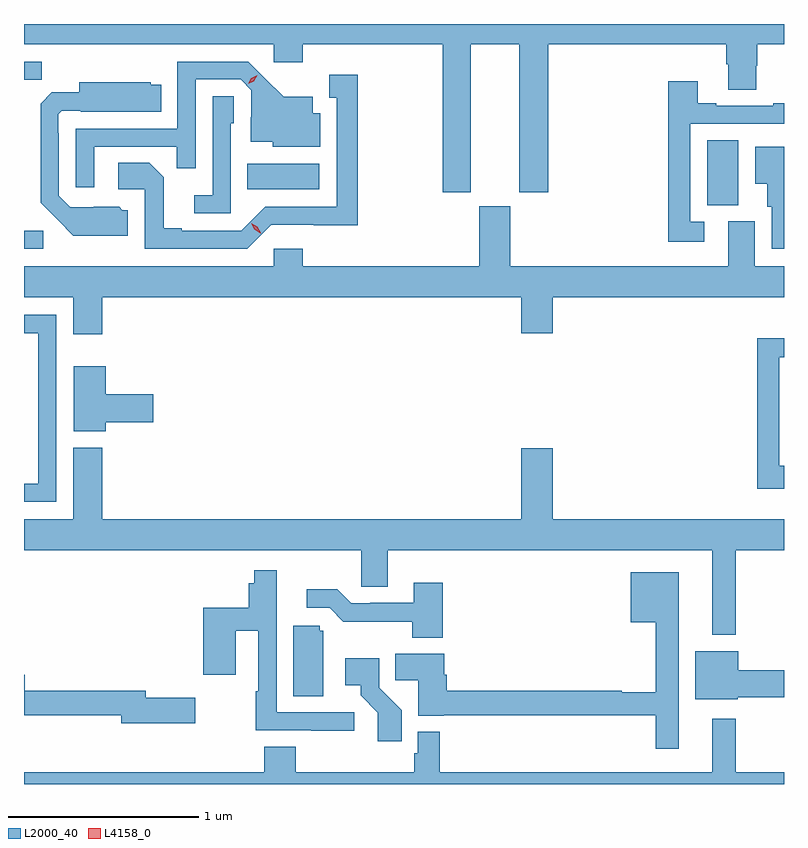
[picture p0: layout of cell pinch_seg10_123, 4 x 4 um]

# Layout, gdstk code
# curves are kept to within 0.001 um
import gdstk
lib = gdstk.Library(unit=1e-6, precision=1e-09)
def R(c, l, rs):  # rectangles x0, y0, x1, y1
    for r in rs: c.add(gdstk.rectangle(r[:2], r[2:], *l))
def P(c, l, *ps):  # polygons
    for p in ps: c.add(gdstk.Polygon(p, *l))
L2000_40 = (2000, 40)
L4158_0 = (4158, 0)

pinch_seg10_123 = lib.new_cell('pinch_seg10_123')
R(pinch_seg10_123, L2000_40, [(713.838,1283.256,713.938,1283.352), (717.434,1283.485,717.598,1283.828), (715.012,1283.57,715.393,1283.704), (713.838,1284.145,713.931,1284.24)])
P(pinch_seg10_123, L2000_40, [(713.838,1284.332),(715.152,1284.332),(715.152,1284.237),(715.304,1284.237),(715.304,1284.332),(716.041,1284.332),(716.041,1283.553),(716.188,1283.553),(716.188,1284.332),(716.444,1284.332),(716.444,1283.553),(716.597,1283.553),(716.597,1284.332),(717.533,1284.332),(717.533,1284.226),(717.545,1284.226),(717.545,1284.094),(717.693,1284.094),(717.693,1284.219),(717.698,1284.219),(717.698,1284.332),(717.838,1284.332),(717.838,1284.439),(713.838,1284.439)],
  [(714.207,1283.793),(714.643,1283.793),(714.643,1283.68),(714.741,1283.68),(714.741,1284.147),(714.978,1284.147),(715.035,1284.09),(715.035,1283.948),(715.031,1283.948),(715.031,1283.819),(715.146,1283.819),(715.146,1283.792),(715.396,1283.792),(715.396,1283.968),(715.357,1283.968),(715.357,1284.055),(715.205,1284.055),(715.018,1284.24),(714.645,1284.24),(714.645,1283.889),(714.111,1283.889),(714.111,1283.58),(714.207,1283.58)],
  [(715.14,1283.382),(715.595,1283.381),(715.595,1284.172),(715.445,1284.172),(715.445,1284.051),(715.484,1284.051),(715.484,1283.478),(715.107,1283.478),(714.981,1283.352),(714.667,1283.352),(714.667,1283.365),(714.573,1283.365),(714.573,1283.632),(714.497,1283.708),(714.333,1283.708),(714.333,1283.568),(714.474,1283.568),(714.474,1283.256),(715.014,1283.256)],
  [(717.418,1283.397),(717.345,1283.397),(717.345,1283.913),(717.838,1283.913),(717.838,1284.022),(717.781,1284.022),(717.781,1284.009),(717.481,1284.009),(717.481,1284.022),(717.385,1284.022),(717.385,1284.139),(717.229,1284.139),(717.229,1283.292),(717.418,1283.292)],
  [(714.385,1283.46),(714.354,1283.46),(714.338,1283.476),(714.081,1283.475),(714.021,1283.535),(714.021,1283.864),(714.018,1283.864),(714.018,1283.964),(714.036,1283.982),(714.136,1283.982),(714.136,1283.978),(714.56,1283.978),(714.56,1284.118),(714.504,1284.118),(714.504,1284.133),(714.128,1284.133),(714.128,1284.079),(713.984,1284.079),(713.925,1284.02),(713.925,1283.498),(714.097,1283.324),(714.385,1283.324)],
  [(714.927,1283.916),(714.942,1283.916),(714.942,1284.059),(714.831,1284.059),(714.831,1283.539),(714.735,1283.539),(714.735,1283.442),(714.927,1283.442)],
  [(717.838,1283.794),(717.686,1283.794),(717.686,1283.597),(717.749,1283.597),(717.749,1283.478),(717.774,1283.478),(717.774,1283.256),(717.838,1283.256)],
  [(714.251,1283),(716.456,1283),(716.456,1282.812),(716.62,1282.812),(716.62,1283),(717.838,1283),(717.838,1283.164),(717.685,1283.164),(717.685,1283.4),(717.545,1283.4),(717.545,1283.164),(716.398,1283.164),(716.398,1283.481),(716.234,1283.481),(716.234,1283.164),(715.304,1283.164),(715.304,1283.257),(715.152,1283.257),(715.152,1283.164),(713.838,1283.164),(713.838,1283),(714.098,1283),(714.098,1282.806),(714.251,1282.806)],
  [(714.009,1282.908),(713.838,1282.908),(713.838,1282.812),(713.913,1282.812),(713.913,1282.019),(713.838,1282.019),(713.838,1281.924),(714.009,1281.924)],
  [(717.838,1282.113),(717.814,1282.113),(717.814,1282.686),(717.838,1282.686),(717.838,1282.784),(717.696,1282.784),(717.696,1281.993),(717.838,1281.993)],
  [(714.268,1282.343),(714.517,1282.343),(714.517,1282.49),(714.268,1282.49),(714.268,1282.639),(714.101,1282.639),(714.101,1282.295),(714.268,1282.295)],
  [(717.583,1281.668),(717.838,1281.668),(717.838,1281.832),(716.62,1281.832),(716.62,1282.207),(716.456,1282.207),(716.456,1281.832),(714.251,1281.832),(714.251,1282.21),(714.098,1282.21),(714.098,1281.832),(713.838,1281.832),(713.838,1281.668),(715.614,1281.668),(715.614,1281.478),(715.753,1281.478),(715.753,1281.668),(717.461,1281.668),(717.461,1281.224),(717.583,1281.224)],
  [(715.576,1280.817),(715.167,1280.817),(715.167,1281.565),(715.051,1281.565),(715.051,1281.496),(715.022,1281.496),(715.022,1281.367),(714.782,1281.367),(714.782,1281.015),(714.952,1281.015),(714.952,1281.245),(715.071,1281.245),(715.071,1280.927),(715.059,1280.927),(715.059,1280.721),(715.351,1280.721),(715.351,1280.719),(715.576,1280.719)],
  [(717.283,1281.553),(717.032,1281.553),(717.032,1281.29),(717.162,1281.29),(717.162,1280.923),(716.983,1280.923),(716.983,1280.93),(716.063,1280.93),(716.063,1281.014),(716.05,1281.014),(716.05,1281.124),(715.792,1281.124),(715.792,1280.986),(715.913,1280.986),(715.913,1280.798),(716.046,1280.798),(716.046,1280.802),(717.162,1280.802),(717.162,1280.625),(717.283,1280.625)],
  [(716.042,1281.499),(715.889,1281.499),(715.889,1281.393),(715.66,1281.393),(715.66,1281.39),(715.56,1281.39),(715.487,1281.463),(715.326,1281.463),(715.326,1281.366),(715.446,1281.366),(715.519,1281.293),(715.882,1281.294),(715.882,1281.209),(716.042,1281.209)],
  [(715.414,1281.246),(715.395,1281.246),(715.395,1281.273),(715.256,1281.273),(715.256,1280.902),(715.414,1280.902)],
  [(717.594,1280.896),(717.838,1280.896),(717.838,1281.038),(717.598,1281.038),(717.598,1281.139),(717.371,1281.139),(717.371,1280.885),(717.594,1280.885)],
  [(715.826,1280.826),(715.707,1280.945),(715.707,1281.1),(715.53,1281.1),(715.53,1280.96),(715.61,1280.96),(715.61,1280.905),(715.701,1280.815),(715.701,1280.664),(715.826,1280.664)],
  [(714.739,1280.894),(714.478,1280.894),(714.478,1280.93),(713.843,1280.93),(713.843,1281.014),(713.838,1281.014),(713.838,1280.802),(714.35,1280.802),(714.35,1280.759),(714.739,1280.759)],
  [(717.838,1280.5),(717.583,1280.5),(717.583,1280.782),(717.461,1280.782),(717.461,1280.5),(716.027,1280.5),(716.027,1280.713),(715.911,1280.713),(715.911,1280.601),(715.891,1280.601),(715.891,1280.5),(715.268,1280.5),(715.268,1280.636),(715.103,1280.636),(715.103,1280.5),(713.838,1280.5),(713.838,1280.439),(717.838,1280.439)])
P(pinch_seg10_123, L4158_0, [(715.082,1283.339),(715.051,1283.358),(715.034,1283.391),(715.034,1283.391),(715.034,1283.391),(715.066,1283.372),(715.083,1283.34),(715.083,1283.339)],
  [(715.017,1284.124),(715.017,1284.124),(715.035,1284.154),(715.065,1284.169),(715.066,1284.169),(715.066,1284.169),(715.048,1284.139),(715.018,1284.124)])

lib.write_gds('pinch_seg10_123.gds')
